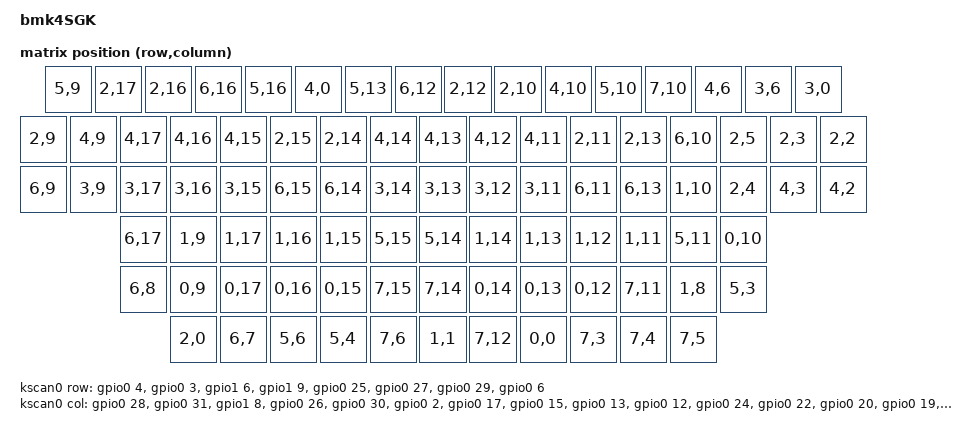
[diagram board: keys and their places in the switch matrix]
/*
 * Copyright (c) 2021 Nick Winans
 *
 * SPDX-License-Identifier: MIT
 */

/dts-v1/;
#include <nordic/nrf52840_qiaa.dtsi>
#include <dt-bindings/zmk/matrix_transform.h>
#include <dt-bindings/zmk/led_matrix_colors.h>

#include "bmk4SGK_layouts.dtsi"

/ {
	model = "bmk4SGK";
	compatible = "bmk,bmk4SGK";

	chosen {
		zephyr,code-partition = &code_partition;
		zephyr,sram = &sram0;
		zephyr,flash = &flash0;
		zmk,battery = &vbatt;
		zmk,kscan = &kscan0;
		zmk,physical-layout = &layout_bmk4sgk;
		zmk,led-matrix = &led_matrix;
	};

	matrix_transform0: keymap_transform_0 {
		compatible = "zmk,matrix-transform";
		columns = <18>;
		rows = <8>;
		map = <
RC(5,9)    RC(2,17) RC(2,16) RC(6,16) RC(5,16)     RC(4,0) RC(5,13) RC(6,12) RC(2,12)    RC(2,10) RC(4,10) RC(5,10) RC(7,10)     RC(4,6) RC(3,6) RC(3,0)
RC(2,9) RC(4,9) RC(4,17) RC(4,16) RC(4,15) RC(2,15) RC(2,14) RC(4,14) RC(4,13) RC(4,12) RC(4,11) RC(2,11) RC(2,13)  RC(6,10)      RC(2,5) RC(2,3) RC(2,2)
RC(6,9)  RC(3,9) RC(3,17) RC(3,16) RC(3,15) RC(6,15) RC(6,14) RC(3,14) RC(3,13) RC(3,12) RC(3,11) RC(6,11) RC(6,13)  RC(1,10)     RC(2,4) RC(4,3) RC(4,2)
RC(6,17)   RC(1,9) RC(1,17) RC(1,16) RC(1,15) RC(5,15) RC(5,14) RC(1,14) RC(1,13) RC(1,12) RC(1,11) RC(5,11)       RC(0,10)
RC(6,8)     RC(0,9) RC(0,17) RC(0,16) RC(0,15) RC(7,15) RC(7,14) RC(0,14) RC(0,13) RC(0,12)  RC(7,11)         RC(1,8)                    RC(5,3)
RC(2,0)  RC(6,7)  RC(5,6)                              RC(5,4)                           RC(7,6)  RC(1,1)  RC(7,12)  RC(0,0)      RC(7,3) RC(7,4) RC(7,5)
		>;
	};

	kscan0: kscan {
		compatible = "zmk,kscan-gpio-matrix";
		label = "KSCAN";
		diode-direction = "row2col";
		wakeup-source;

		row-gpios
			= <&gpio0 4 GPIO_ACTIVE_HIGH>
			, <&gpio0 3 GPIO_ACTIVE_HIGH>
			, <&gpio1 6 GPIO_ACTIVE_HIGH>
			, <&gpio1 9 GPIO_ACTIVE_HIGH>
			, <&gpio0 25 GPIO_ACTIVE_HIGH>
			, <&gpio0 27 GPIO_ACTIVE_HIGH>
			, <&gpio0 29 GPIO_ACTIVE_HIGH>
			, <&gpio0 6 GPIO_ACTIVE_HIGH>
			;

		col-gpios
			= <&gpio0 28 (GPIO_ACTIVE_HIGH | GPIO_PULL_DOWN)>
			, <&gpio0 31 (GPIO_ACTIVE_HIGH | GPIO_PULL_DOWN)>
			, <&gpio1 8 (GPIO_ACTIVE_HIGH | GPIO_PULL_DOWN)>
			, <&gpio0 26 (GPIO_ACTIVE_HIGH | GPIO_PULL_DOWN)>
			, <&gpio0 30 (GPIO_ACTIVE_HIGH | GPIO_PULL_DOWN)>
			, <&gpio0 2 (GPIO_ACTIVE_HIGH | GPIO_PULL_DOWN)>
			, <&gpio0 17 (GPIO_ACTIVE_HIGH | GPIO_PULL_DOWN)>
			, <&gpio0 15 (GPIO_ACTIVE_HIGH | GPIO_PULL_DOWN)>
			, <&gpio0 13 (GPIO_ACTIVE_HIGH | GPIO_PULL_DOWN)>
			, <&gpio0 12 (GPIO_ACTIVE_HIGH | GPIO_PULL_DOWN)>
			, <&gpio0 24 (GPIO_ACTIVE_HIGH | GPIO_PULL_DOWN)>
			, <&gpio0 22 (GPIO_ACTIVE_HIGH | GPIO_PULL_DOWN)>
			, <&gpio0 20 (GPIO_ACTIVE_HIGH | GPIO_PULL_DOWN)>
			, <&gpio0 19 (GPIO_ACTIVE_HIGH | GPIO_PULL_DOWN)>
			, <&gpio0 21 (GPIO_ACTIVE_HIGH | GPIO_PULL_DOWN)>
			, <&gpio0 16 (GPIO_ACTIVE_HIGH | GPIO_PULL_DOWN)>
			, <&gpio0 14 (GPIO_ACTIVE_HIGH | GPIO_PULL_DOWN)>
			, <&gpio0 10 (GPIO_ACTIVE_HIGH | GPIO_PULL_DOWN)>
			;
	};

	status_leds: leds {
		compatible = "gpio-leds";

		caps_lock_led: caps_lock_led {
			gpios = <&gpio1 5 GPIO_ACTIVE_LOW>;
			label = "Caps lock LED";
		};

		scroll_lock_led: scroll_lock_led {
			gpios = <&gpio1 7 GPIO_ACTIVE_LOW>;
			label = "Scroll lock LED";
		};
	};

	led_matrix: led_matrix {
		compatible = "zmk,led-matrix";
		led-driver = "matrix";
		led-device = <&status_leds>;
		led-count = <2>;
		led-indexes = <0 1>;
		hid-timeout-ms = <0>;

		hid-caps-leds = <0>;
		hid-caps-color-on = <LM_WHITE>;
		hid-caps-color-off = <LM_BLACK>;

		hid-scroll-leds = <1>;
		hid-scroll-color-on = <LM_WHITE>;
		hid-scroll-color-off = <LM_BLACK>;
	};

	vbatt: vbatt {
		compatible = "zmk,battery-voltage-divider";
		label = "BATTERY";
		io-channels = <&adc 3>;
		output-ohms = <2000000>;
		full-ohms = <(2000000 + 806000)>;
	};
};

&adc {
	status = "okay";
};

&gpiote {
	status = "okay";
};

&gpio0 {
	status = "okay";
};

&gpio1 {
	status = "okay";
};

zephyr_udc0: &usbd {
	status = "okay";
};

&flash0 {
	/*
	 * For more information, see:
	 * http://docs.zephyrproject.org/latest/devices/dts/flash_partitions.html
	 */
	partitions {
		compatible = "fixed-partitions";
		#address-cells = <1>;
		#size-cells = <1>;

		sd_partition: partition@0 {
			label = "mbr";
			reg = <0x00000000 0x00001000>;
		};

		code_partition: partition@1000 {
			label = "code_partition";
			reg = <0x00001000 0x000d3000>;
		};

		/*
		 * The flash starting at 0x000d4000 and ending at
		 * 0x000f3fff is reserved for use by the application.
		 */

		/*
		 * Storage partition will be used by FCB/LittleFS/NVS
		 * if enabled.
		 */
		storage_partition: partition@d4000 {
			label = "storage";
			reg = <0x000d4000 0x00020000>;
		};

		boot_partition: partition@f4000 {
			label = "adafruit_boot";
			reg = <0x000f4000 0x0000c000>;
		};
	};
};
